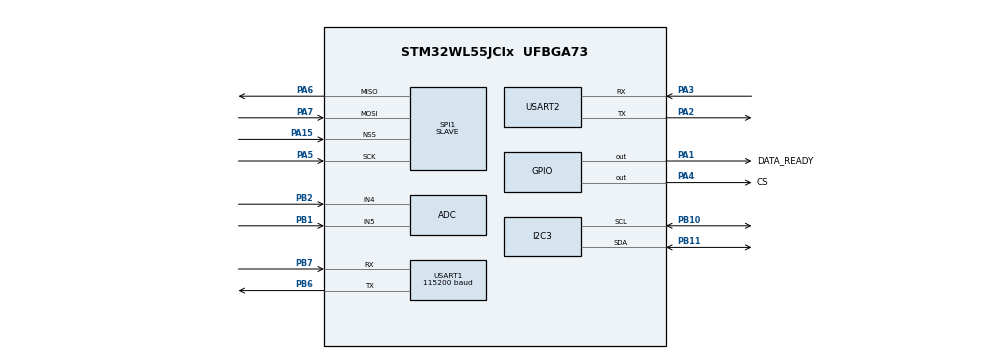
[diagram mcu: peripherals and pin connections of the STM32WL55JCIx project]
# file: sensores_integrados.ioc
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ADC.Channel-0\#ChannelRegularConversion=ADC_CHANNEL_4
ADC.EnableRegularConversion=ENABLE
ADC.NbrOfConversion=1
ADC.NbrOfConversionFlag=1
ADC.Rank-0\#ChannelRegularConversion=1
ADC.SamplingTime-0\#ChannelRegularConversion=ADC_SAMPLINGTIME_COMMON_1
ADC.SamplingTimeCommon1=ADC_SAMPLETIME_160CYCLES_5
ADC.SamplingTimeCommon2=ADC_SAMPLETIME_160CYCLES_5
ADC.SelectedChannel=ADC_CHANNEL_4|ADC_CHANNEL_5
I2C3.Timing=0x00B07CB4
Mcu.Family=STM32WL
Mcu.Name=STM32WL55JCIx
Mcu.Package=UFBGA73
NVIC.PriorityGroup=NVIC_PRIORITYGROUP_4
NVIC.SPI1_IRQn=true\:0\:0\:false\:false\:true\:true\:true\:true
NVIC.USART1_IRQn=true\:0\:0\:false\:false\:true\:true\:true\:true
NVIC.USART2_IRQn=true\:0\:0\:false\:false\:true\:true\:true\:true
PA1.GPIO_Label=DATA_READY
PA1.Signal=GPIO_Output
PA15.Mode=NSS_Signal_Hard_Input
PA15.Signal=SPI1_NSS
PA2.Mode=Asynchronous
PA2.Signal=USART2_TX
PA3.Mode=Asynchronous
PA3.Signal=USART2_RX
PA4.GPIO_Label=CS
PA4.Signal=GPIO_Output
PA5.Mode=Full_Duplex_Slave
PA5.Signal=SPI1_SCK
PA6.Mode=Full_Duplex_Slave
PA6.Signal=SPI1_MISO
PA7.Mode=Full_Duplex_Slave
PA7.Signal=SPI1_MOSI
PB1.Mode=IN5
PB1.Signal=ADC_IN5
PB10.GPIO_Pu=GPIO_NOPULL
PB10.Mode=I2C
PB10.Signal=I2C3_SCL
PB11.GPIO_Pu=GPIO_NOPULL
PB11.Mode=I2C
PB11.Signal=I2C3_SDA
PB2.Mode=IN4
PB2.Signal=ADC_IN4
PB6.Mode=Asynchronous
PB6.Signal=USART1_TX
PB7.GPIO_PuPd=GPIO_PULLUP
PB7.Mode=Asynchronous
PB7.Signal=USART1_RX
ProjectManager.HeapSize=0x200
ProjectManager.StackSize=0x400
ProjectManager.TargetToolchain=STM32CubeIDE
RCC.AHBFreq_Value=32000000
RCC.APB1Freq_Value=32000000
RCC.APB1TimFreq_Value=32000000
RCC.APB2Freq_Value=32000000
RCC.APB2TimFreq_Value=32000000
RCC.APB3Freq_Value=32000000
RCC.CortexFreq_Value=32000000
RCC.HCLKFreq_Value=32000000
RCC.HSE_VALUE=8000000
RCC.HSI_VALUE=16000000
RCC.LSE_VALUE=32768
RCC.MSIClockRange=RCC_MSIRANGE_10
RCC.SYSCLKFreq_VALUE=32000000
RCC.VCOOutputFreq_Value=256000000
SPI1.DataSize=SPI_DATASIZE_8BIT
SPI1.Direction=SPI_DIRECTION_2LINES
SPI1.Mode=SPI_MODE_SLAVE
SPI1.VirtualNSS=VM_NSSHARD
SPI1.VirtualType=VM_SLAVE
USART1.BaudRate=115200
USART1.VirtualMode-Asynchronous=VM_ASYNC
USART2.VirtualMode-Asynchronous=VM_ASYNC
board=custom

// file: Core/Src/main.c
/* USER CODE BEGIN Header */
/**
 ******************************************************************************
 * @file           : main.c
 * @brief          : Main program body
 ******************************************************************************
 *
 * --- Mapa TLV ---
 * 0x01  TIME        3B  hh mm ss
 * 0x02  GPS_COORD   8B  lat(4) lon(4) ×100000
 * 0x03  GPS_ALT     2B  metros (int16)
 * 0x04  GPS_SPEED   2B  km/h ×100 (uint16)
 * 0x05  ACCEL       6B  x y z (int16 cada uno)
 * 0x06  GYRO        6B  x y z (int16 cada uno)
 * 0x07  TEMP_SHT    2B  °C ×100 (int16)
 * 0x08  HUM_SHT     2B  % ×100 (uint16)
 * 0x09  PRESSURE    4B  mbar ×100 (uint32)
 * 0x0A  BARO_ALT    2B  metros ISA (int16)
 * 0x0B  BAT_VOLT    2B  mV (uint16)
 * 0x0C  BAT_SOC     1B  % (uint8)
 * 0x0D  MAG_ANGLE   2B  grados ×100 (uint16)
 *
 *//* <--- AQUI ESTA LA SOLUCION: Cierre del bloque */

/* USER CODE END Header */
#include "main.h"

/* USER CODE BEGIN Includes */
#include <string.h>
#include <stdio.h>
#include <stdlib.h>
#include <bmi270_config.h>
#include <stdbool.h>
#include "cmps2.h"
#include "ms5611.h"
/* USER CODE END Includes */

/* USER CODE BEGIN PTD */
//Direcciones BMI270
#define BMI270_I2C_ADDR     (0x68 << 1)
#define REG_CHIP_ID         0x00
#define REG_PWR_CONF        0x7C
#define REG_INIT_CTRL       0x59
#define REG_INIT_DATA       0x5E
#define REG_INTERNAL_STATUS 0x21
#define REG_PWR_CTRL        0x7D
#define REG_ACC_CONF        0x40
#define REG_ACC_RANGE       0x41
#define REG_DATA_8          0x0C
#define REG_TEMP_LSB        0x22

typedef struct {
	int16_t acc_x;
	int16_t acc_y;
	int16_t acc_z;
	int16_t gyr_x;
	int16_t gyr_y;
	int16_t gyr_z;
	float temp_BMI270;
} BMI270_Data_t;

//Direcciones SHT20
#define SHT20_I2C_ADDR   (0x40 << 1) // Dirección I2C desplazada 1 bit
#define CMD_MEASURE_T    0xF3        // Trigger T measurement (no hold master)
#define CMD_MEASURE_RH   0xF5        // Trigger RH measurement (no hold master)

#define VREF              3.3f
#define ADC_BITS          4096
#define R1                100000.0f
#define R2                220000.0f
#define NUM_MUESTRAS      10
#define INTERVALO_MS      500
#define LM35_MV_POR_C     10.0f
#define TEMP_ON           25.0f
#define TEMP_OFF          22.0f
#define ALPHA  0.1f   // factor del filtro: 0.1 = muy suave, 0.3 = más rápido
/* USER CODE END PTD */

/* USER CODE BEGIN PD */
// FIX: Los defines de LoRa se eliminaron de aquí.
// Ahora viven únicamente en subghz_phy_app.c para evitar redefinición.
/* USER CODE END PD */

ADC_HandleTypeDef hadc;

I2C_HandleTypeDef hi2c3;

SPI_HandleTypeDef hspi1;

UART_HandleTypeDef huart1;
UART_HandleTypeDef huart2;

/* USER CODE BEGIN PV */
uint8_t rx_data;
uint8_t rx_data_uart2; // Variable para capturar el input del menú
uint8_t spi_tx_buffer[128];
volatile uint32_t spi_tx_start_time = 0;

static float vbatFiltrado = 0.0f;

typedef struct {
	float voltaje;
	uint8_t porcentaje;
} PuntoSoC;

static const PuntoSoC tablaSoC[] =
		{ { 4.20f, 100 }, { 4.10f, 90 }, { 4.00f, 80 }, { 3.90f, 70 }, { 3.80f,
				60 }, { 3.70f, 45 }, { 3.60f, 30 }, { 3.50f, 20 },
				{ 3.40f, 10 }, { 3.20f, 5 }, { 3.00f, 0 }, };
static const uint8_t PUNTOS_SOC = sizeof(tablaSoC) / sizeof(tablaSoC[0]);

// --- ESTADOS DEL MENÚ ---
volatile uint8_t display_mode = 2; // 1 = ASCII, 2 = TLV (Default)
volatile uint8_t menu_active = 0;  // 0 = Mostrando datos, 1 = Mostrando menú

// --- BÚFER CIRCULAR GPS ---
#define RX_BUF_SIZE 512
volatile uint8_t rx_buffer[RX_BUF_SIZE];
volatile uint16_t rx_head = 0;
volatile uint16_t rx_tail = 0;

// --- PARSEO NMEA ---
char line_buffer[100];
uint8_t line_index = 0;

// --- BÚFER LORA TLV ---
uint8_t lora_tx_buffer[128];
uint8_t lora_tx_len = 0;

// FIX: radio_tx_done vive en subghz_phy_app.c, aquí solo la declaramos extern
extern volatile uint8_t radio_tx_done;
/* USER CODE END PV */

void SystemClock_Config(void);
static void MX_GPIO_Init(void);
static void MX_USART1_UART_Init(void);
static void MX_USART2_UART_Init(void);
static void MX_I2C3_Init(void);
static void MX_ADC_Init(void);
static void MX_SPI1_Init(void);
/* USER CODE BEGIN PFP */
void UART_Print(const char *msg);
uint32_t leerCanalADC(uint32_t canal);
float leerVoltajeBateria(void);
uint8_t voltajeASoC(float voltaje);
/* USER CODE END PFP */

/* USER CODE BEGIN 0 */

void BMI270_WriteReg(uint8_t reg, uint8_t val) {
	char dbg[70];
	snprintf(dbg, sizeof(dbg), "   [I2C] Escribiendo registro 0x%02X... ", reg);
	UART_Print(dbg);

	HAL_StatusTypeDef status = HAL_I2C_Mem_Write(&hi2c3, BMI270_I2C_ADDR, reg,
	I2C_MEMADD_SIZE_8BIT, &val, 1, 100);

	snprintf(dbg, sizeof(dbg), "Status HAL: %d\r\n", status);
	UART_Print(dbg);

	for (volatile int k = 0; k < 50000; k++)
		;
}

uint8_t BMI270_ReadReg(uint8_t reg) {
	uint8_t val = 0;
	HAL_I2C_Mem_Read(&hi2c3, BMI270_I2C_ADDR, reg, I2C_MEMADD_SIZE_8BIT, &val,
			1, 100);
	return val;
}

void BMI270_ReadRegs(uint8_t reg, uint8_t *data, uint16_t len) {
	HAL_I2C_Mem_Read(&hi2c3, BMI270_I2C_ADDR, reg, I2C_MEMADD_SIZE_8BIT, data,
			len, 100);
}

HAL_StatusTypeDef BMI270_LoadConfigFile(void) {
	UART_Print("   -> Configurando punteros 0x5B y 0x5C...\r\n");
	BMI270_WriteReg(0x5B, 0x00);
	BMI270_WriteReg(0x5C, 0x00);

	UART_Print("   -> Enviando 8KB de un solo golpe (Burst Write)...\r\n");

	HAL_StatusTypeDef status = HAL_I2C_Mem_Write(&hi2c3, BMI270_I2C_ADDR,
	REG_INIT_DATA, I2C_MEMADD_SIZE_8BIT, (uint8_t*) bmi270_config_file,
			bmi270_config_file_size, 1000);

	if (status != HAL_OK) {
		char err[60];
		snprintf(err, sizeof(err),
				"   [!] Error I2C en burst write. Codigo HAL: %d\r\n", status);
		UART_Print(err);
		return status;
	}

	UART_Print("   -> Transmision completada.\r\n");
	return HAL_OK;
}

void UART_Print(const char *msg) {
	HAL_UART_Transmit(&huart2, (uint8_t*) msg, strlen(msg), HAL_MAX_DELAY);
}

float BMI270_ReadTemperature(void) {
	uint8_t raw[2];
	BMI270_ReadRegs(REG_TEMP_LSB, raw, 2);
	int16_t raw_temp = (int16_t) ((raw[1] << 8) | raw[0]);
	return (raw_temp / 512.0f) + 23.0f;
}

void BMI270_Get_Data(BMI270_Data_t *imu_data) {
	uint8_t raw[14];

	BMI270_ReadRegs(REG_DATA_8, raw, 14);

	// Guardamos los datos dentro de la estructura usando la flecha (->)
	imu_data->acc_x = (int16_t) ((raw[1] << 8) | raw[0]);
	imu_data->acc_y = (int16_t) ((raw[3] << 8) | raw[2]);
	imu_data->acc_z = (int16_t) ((raw[5] << 8) | raw[4]);

	imu_data->gyr_x = (int16_t) ((raw[7] << 8) | raw[6]);
	imu_data->gyr_y = (int16_t) ((raw[9] << 8) | raw[8]);
	imu_data->gyr_z = (int16_t) ((raw[11] << 8) | raw[10]);

	imu_data->temp_BMI270 = BMI270_ReadTemperature();
}

void get_nmea_field(const char *nmea, uint8_t field_num, char *result) {
	uint8_t comma_count = 0;
	uint8_t i = 0, j = 0;
	while (nmea[i] != '\0' && nmea[i] != '*' && comma_count <= field_num) {
		if (nmea[i] == ',') {
			comma_count++;
		} else if (comma_count == field_num) {
			result[j++] = nmea[i];
		}
		i++;
	}
	result[j] = '\0';
}

void SHT20_Read(float *temperature, float *humidity) {
	uint8_t cmd;
	uint8_t data[3];
	uint16_t raw_val;
	// 1. Leer Temperatura
	cmd = CMD_MEASURE_T;
	HAL_I2C_Master_Transmit(&hi2c3, SHT20_I2C_ADDR, &cmd, 1, 150); // Enviamos el comando de medición de temperatura
	HAL_Delay(85); // Esperamos el tiempo máximo de conversión para 14 bits (85 ms)
	HAL_I2C_Master_Receive(&hi2c3, SHT20_I2C_ADDR, data, 3, 150); // Leemos 3 bytes: MSB, LSB y CRC
	// Unimos los bytes y ponemos a '0' los últimos 2 bits de estado (0xFC = 11111100 en binario)
	raw_val = (data[0] << 8) | (data[1] & 0xFC);
	*temperature = -46.85 + 175.72 * ((float) raw_val / 65536.0); // Aplicamos la fórmula del datasheet
	// 2. Leer Humedad Relativa
	cmd = CMD_MEASURE_RH;
	HAL_I2C_Master_Transmit(&hi2c3, SHT20_I2C_ADDR, &cmd, 1, 150); // Enviamos el comando de medición de humedad
	HAL_Delay(29); // Esperamos el tiempo máximo de conversión para 12 bits (29 ms)
	HAL_I2C_Master_Receive(&hi2c3, SHT20_I2C_ADDR, data, 3, 150); // Leemos 3 bytes: MSB, LSB y CRC
	raw_val = (data[0] << 8) | (data[1] & 0xFC); // Unimos los bytes y ponemos a '0' los últimos 2 bits de estado
	*humidity = -6.0 + 125.0 * ((float) raw_val / 65536.0);	// Aplicamos la fórmula del datasheet
}
uint32_t leerCanalADC(uint32_t canal) {
	ADC_ChannelConfTypeDef sConfig = { 0 };
	sConfig.Channel = canal;
	sConfig.Rank = ADC_REGULAR_RANK_1;
	sConfig.SamplingTime = ADC_SAMPLINGTIME_COMMON_1;
	HAL_ADC_ConfigChannel(&hadc, &sConfig);

	HAL_ADC_Start(&hadc);
	HAL_ADC_PollForConversion(&hadc, 100);
	uint32_t valor = HAL_ADC_GetValue(&hadc);
	HAL_ADC_Stop(&hadc);

	return valor;
}
float leerVoltajeBateria(void) {
	uint32_t suma = 0;
	for (uint8_t i = 0; i < NUM_MUESTRAS; i++) {
		suma += leerCanalADC(ADC_CHANNEL_5); /* PB1 = ADC_IN5 */
		HAL_Delay(5);
	}
	float rawProm = (float) suma / NUM_MUESTRAS;
	float vPin = (rawProm / ADC_BITS) * VREF;
	return vPin * (R1 + R2) / R2;
}
uint8_t voltajeASoC(float voltaje) {
	if (voltaje >= tablaSoC[0].voltaje)
		return 100;
	if (voltaje <= tablaSoC[PUNTOS_SOC - 1].voltaje)
		return 0;

	for (uint8_t i = 0; i < PUNTOS_SOC - 1; i++) {
		if (voltaje <= tablaSoC[i].voltaje
				&& voltaje >= tablaSoC[i + 1].voltaje) {
			float rango_v = tablaSoC[i].voltaje - tablaSoC[i + 1].voltaje;
			float rango_p = tablaSoC[i].porcentaje - tablaSoC[i + 1].porcentaje;
			float fraccion = (voltaje - tablaSoC[i + 1].voltaje) / rango_v;
			return (uint8_t) (tablaSoC[i + 1].porcentaje + fraccion * rango_p);
		}
	}
	return 0;
}

// Empaquetar 1 Byte (8 bits)
void tlv_pack_8(uint8_t type, uint8_t val) {
	lora_tx_buffer[lora_tx_len++] = type;
	lora_tx_buffer[lora_tx_len++] = 1; // Longitud: 1 byte
	lora_tx_buffer[lora_tx_len++] = val;
}

// Empaquetar 2 Bytes
void tlv_pack_16(uint8_t type, uint16_t val) {
	lora_tx_buffer[lora_tx_len++] = type;
	lora_tx_buffer[lora_tx_len++] = 2; // Longitud: 2 bytes
	lora_tx_buffer[lora_tx_len++] = (val >> 8) & 0xFF; // MSB
	lora_tx_buffer[lora_tx_len++] = val & 0xFF;        // LSB
}

// Empaquetar 4 Bytes
void tlv_pack_32(uint8_t type, uint32_t val) {
	lora_tx_buffer[lora_tx_len++] = type;
	lora_tx_buffer[lora_tx_len++] = 4; // Longitud: 4 bytes
	lora_tx_buffer[lora_tx_len++] = (val >> 24) & 0xFF;
	lora_tx_buffer[lora_tx_len++] = (val >> 16) & 0xFF;
	lora_tx_buffer[lora_tx_len++] = (val >> 8) & 0xFF;
	lora_tx_buffer[lora_tx_len++] = val & 0xFF;
}

void tlv_pack_time(uint8_t type, uint8_t h, uint8_t m, uint8_t s) {
	lora_tx_buffer[lora_tx_len++] = type;
	lora_tx_buffer[lora_tx_len++] = 3; // Longitud: 3 bytes
	lora_tx_buffer[lora_tx_len++] = h;
	lora_tx_buffer[lora_tx_len++] = m;
	lora_tx_buffer[lora_tx_len++] = s;
}

void tlv_pack_xyz(uint8_t type, int16_t x, int16_t y, int16_t z) {
	lora_tx_buffer[lora_tx_len++] = type;
	lora_tx_buffer[lora_tx_len++] = 6;
	lora_tx_buffer[lora_tx_len++] = (x >> 8) & 0xFF;
	lora_tx_buffer[lora_tx_len++] = x & 0xFF;
	lora_tx_buffer[lora_tx_len++] = (y >> 8) & 0xFF;
	lora_tx_buffer[lora_tx_len++] = y & 0xFF;
	lora_tx_buffer[lora_tx_len++] = (z >> 8) & 0xFF;
	lora_tx_buffer[lora_tx_len++] = z & 0xFF;
}

void tlv_pack_gps_coords(uint8_t type, int32_t lat, int32_t lon) {
	lora_tx_buffer[lora_tx_len++] = type;
	lora_tx_buffer[lora_tx_len++] = 8;
	lora_tx_buffer[lora_tx_len++] = (lat >> 24) & 0xFF;
	lora_tx_buffer[lora_tx_len++] = (lat >> 16) & 0xFF;
	lora_tx_buffer[lora_tx_len++] = (lat >> 8) & 0xFF;
	lora_tx_buffer[lora_tx_len++] = lat & 0xFF;
	lora_tx_buffer[lora_tx_len++] = (lon >> 24) & 0xFF;
	lora_tx_buffer[lora_tx_len++] = (lon >> 16) & 0xFF;
	lora_tx_buffer[lora_tx_len++] = (lon >> 8) & 0xFF;
	lora_tx_buffer[lora_tx_len++] = lon & 0xFF;
}

int32_t nmea_to_int32(char *coord_str, char dir) {
	if (strlen(coord_str) == 0)
		return 0;
	float raw = atof(coord_str);
	int degrees = (int) (raw / 100.0f);
	float minutes = raw - (degrees * 100.0f);
	float decimal_deg = degrees + (minutes / 60.0f);
	if (dir == 'S' || dir == 'W')
		decimal_deg *= -1.0f;
	return (int32_t) (decimal_deg * 100000.0f);
}
// Función maestra para armar el paquete LoRa
uint8_t build_telemetry_payload(uint8_t gps_has_fix, uint8_t h, uint8_t m,
		uint8_t s, int32_t lat, int32_t lon, int16_t alt, uint16_t speed,
		int16_t acc_x, int16_t acc_y, int16_t acc_z, int16_t gyr_x,
		int16_t gyr_y, int16_t gyr_z, int16_t temp_sht, uint16_t hum_sht,
		uint32_t pressure, uint16_t vbat_mv, uint8_t soc, uint16_t mag_angle) {
	lora_tx_len = 0; // Reiniciar el puntero del búfer global

	// 1. Datos GPS (Solo se agregan si hay satélites válidos)
	if (gps_has_fix) {
		tlv_pack_time(0x01, h, m, s);
		tlv_pack_gps_coords(0x02, lat, lon);
		tlv_pack_16(0x03, alt);
		tlv_pack_16(0x04, speed);
	}

	// 2. Datos IMU (Siempre se empaquetan)
	tlv_pack_xyz(0x05, acc_x, acc_y, acc_z);
	tlv_pack_xyz(0x06, gyr_x, gyr_y, gyr_z);
	//tlv_pack_16(0x0A, temp_imu); // Type 0x0A para Temperatura IMU

	// 3. Datos Atmosféricos (Siempre se empaquetan)
	tlv_pack_16(0x07, temp_sht);
	tlv_pack_16(0x08, hum_sht);
	tlv_pack_32(0x09, pressure);

	// 4. Batería y Magnetómetro (Nuevos datos)
	tlv_pack_16(0x0B, vbat_mv);     // Voltaje en mV
	tlv_pack_8(0x0C, soc);          // Porcentaje 0-100%
	tlv_pack_16(0x0D, mag_angle);   // Ángulo escalado x100

	return lora_tx_len; // Devuelve el tamaño final del paquete
}

/* USER CODE END 0 */

int main(void)
{

  /* MCU Configuration--------------------------------------------------------*/

  /* Reset of all peripherals, Initializes the Flash interface and the Systick. */
  HAL_Init();

  /* Configure the system clock */
  SystemClock_Config();

  /* Initialize all configured peripherals */
  MX_GPIO_Init();
  MX_USART1_UART_Init();
  MX_USART2_UART_Init();
  MX_I2C3_Init();
  MX_ADC_Init();
  MX_SPI1_Init();
  /* USER CODE BEGIN 2 */
	HAL_Delay(2000);
	UART_Print("Escaneando I2C3...\r\n");
	for (uint8_t addr = 1; addr < 128; addr++) {
		if (HAL_I2C_IsDeviceReady(&hi2c3, addr << 1, 1, 10) == HAL_OK) {
			char found[30];
			snprintf(found, sizeof(found), "  Dispositivo en 0x%02X\r\n", addr);
			UART_Print(found);
		}
	}
	UART_Print("Scan completo.\r\n");
	UART_Print("Inicializando sistema de telemetria...\r\n");
	CMPS2_Init(&hi2c3);
	MS5611_Init(&hi2c3, 0);
	float temperature_sht20, hum;
	float gps_speed_kmh = 0.0f;
	// Iniciar interrupciones de recepción para ambos UARTs
	HAL_UART_Receive_IT(&huart1, &rx_data, 1);
	HAL_UART_Receive_IT(&huart2, &rx_data_uart2, 1);

	uint8_t chip_id = BMI270_ReadReg(REG_CHIP_ID);

	if (chip_id != 0x24) {
		char err[60];
		snprintf(err, sizeof(err),
				"ERROR: BMI270 CHIP_ID=0x%02X (esperado 0x24)\r\n", chip_id);
		HAL_UART_Transmit(&huart2, (uint8_t*) err, strlen(err), HAL_MAX_DELAY);
	} else {
		BMI270_WriteReg(REG_PWR_CONF, 0x00);
		HAL_Delay(1);
		BMI270_WriteReg(REG_INIT_CTRL, 0x00);
		HAL_Delay(1);
		BMI270_LoadConfigFile();
		HAL_Delay(20);
		BMI270_WriteReg(REG_INIT_CTRL, 0x01);
		HAL_Delay(20);
		BMI270_WriteReg(REG_ACC_CONF, 0xA8);
		HAL_Delay(1);
		BMI270_WriteReg(REG_ACC_RANGE, 0x02);
		HAL_Delay(1);
		BMI270_WriteReg(REG_PWR_CTRL, 0x0E);
		HAL_Delay(1);
		BMI270_WriteReg(REG_PWR_CONF, 0x02);
		HAL_Delay(2);
		BMI270_WriteReg(0x42, 0xA9);
		HAL_Delay(1);
		BMI270_WriteReg(0x43, 0x00);
		HAL_Delay(1);
		UART_Print("BMI270 OK.\r\n");
	}

  /* USER CODE END 2 */

  /* Infinite loop */
  /* USER CODE BEGIN WHILE */
	uint32_t last_gps_time = HAL_GetTick();
	uint32_t last_imu_time = HAL_GetTick();
	BMI270_Data_t imu;
	while (1) {

		uint8_t trigger_telemetry = 0;
		uint8_t gps_valid = 0;

		if (rx_head != rx_tail) {
			char c = (char) rx_buffer[rx_tail];
			rx_tail = (rx_tail + 1) % RX_BUF_SIZE;

			if (c == '\n' || line_index >= sizeof(line_buffer) - 1) {
				line_buffer[line_index] = '\0';

				// 1. Interceptar VTG para guardar la

				if (strstr(line_buffer, "VTG") != NULL) {
					char speed_str[10] = { 0 };
					// El campo 7 contiene la velocidad en km/h
					get_nmea_field(line_buffer, 7, speed_str);
					if (strlen(speed_str) > 0) {
						gps_speed_kmh = atof(speed_str);
					}
				}
				// 2. Usar GGA como gatillo de telemetría
				else if (strstr(line_buffer, "GGA") != NULL) {
					last_gps_time = HAL_GetTick();
					trigger_telemetry = 1;
					gps_valid = 1;
				}
				line_index = 0;
			} else if (c != '\r') {
				line_buffer[line_index++] = c;
			}
		}

		// ==========================================
		// TAREA 2: WATCHDOG (telemetría sin GPS)
		// ==========================================
		if (HAL_GetTick() - last_gps_time > 2000) {
			if (HAL_GetTick() - last_imu_time > 1000) {
				last_imu_time = HAL_GetTick();
				trigger_telemetry = 1;
				gps_valid = 0;
			}
		} else {
			last_imu_time = HAL_GetTick();
		}

		// ==========================================
		// TAREA 4: TIMEOUT DEL SPI (Evitar bloqueos)
		// ==========================================
		// Si el pin está en ALTO, significa que la Raspi todavía no terminó de leer
		if (HAL_GPIO_ReadPin(DATA_READY_GPIO_Port, DATA_READY_Pin)
				== GPIO_PIN_SET) {

			// Si pasaron más de 500 ms desde que levantamos el pin...
			if (HAL_GetTick() - spi_tx_start_time > 500) {

				// 1. Abortamos la transmisión trabada a nivel de hardware
				HAL_SPI_Abort_IT(&hspi1);

				// 2. Bajamos el pin manualmente para resetear el estado
				HAL_GPIO_WritePin(DATA_READY_GPIO_Port, DATA_READY_Pin,
						GPIO_PIN_RESET);

				// 3. (Opcional) Notificamos el error en el menú 3 de debug
				if (!menu_active && display_mode == 3) {
					UART_Print(
							"\r\n[!] ERROR TIMEOUT SPI: La Raspberry Pi no respondio. Transmision abortada.\r\n");
				}
			}
		}
		// ==========================================
		// TAREA 3: ENSAMBLAR Y ENVIAR PAQUETE TLV
		// ==========================================
		if (trigger_telemetry == 1) {
			lora_tx_len = 0;

			// Variables NMEA subidas de scope para usarlas en el ASCII print
			char time_str[15] = { 0 }, lat_str[15] = { 0 }, ns[2] = { 0 };
			char lon_str[15] = { 0 }, ew[2] = { 0 }, alt_str[10] = { 0 },
					fix_str[2] = { 0 };
			uint8_t gps_has_fix = 0; // Nuestra bandera lógica
			uint8_t h = 0, m = 0, s = 0;
			uint16_t speed_scaled = 0;
			int32_t lat_int = 0, lon_int = 0;
			int16_t alt_int = 0;

			// 1. GPS (si tiene fix)
			if (gps_valid) {
				get_nmea_field(line_buffer, 1, time_str);
				get_nmea_field(line_buffer, 2, lat_str);
				get_nmea_field(line_buffer, 3, ns);
				get_nmea_field(line_buffer, 4, lon_str);
				get_nmea_field(line_buffer, 5, ew);
				get_nmea_field(line_buffer, 6, fix_str);
				get_nmea_field(line_buffer, 9, alt_str);

				if (fix_str[0] >= '1') {
					gps_has_fix = 1;

					int utc_h = (time_str[0] - '0') * 10 + (time_str[1] - '0');
					h = (utc_h - 3 < 0) ? utc_h - 3 + 24 : utc_h - 3;
					m = (time_str[2] - '0') * 10 + (time_str[3] - '0');
					s = (time_str[4] - '0') * 10 + (time_str[5] - '0');
					//tlv_pack_time(0x01, (uint8_t) art_h, m, s); //TLV HORA

					lat_int = nmea_to_int32(lat_str, ns[0]);
					lon_int = nmea_to_int32(lon_str, ew[0]);
					//tlv_pack_gps_coords(0x02, lat_int, lon_int); //TLV LATITUD Y LONGITUD

					alt_int = (int16_t) atof(alt_str);
					//tlv_pack_16(0x03, alt_int); //TLV ALTITUD
					speed_scaled = (uint16_t) (gps_speed_kmh * 100.0f);
					//tlv_pack_16(0x04, (uint16_t) (gps_speed_kmh * 100.0f));
				}
			}

			// 2. IMU (siempre)
			BMI270_Get_Data(&imu);

			//float temp = BMI270_ReadTemperature();

			//tlv_pack_xyz(0x05, acc_x, acc_y, acc_z); //TLV acelerometro X,Y,Z
			//tlv_pack_xyz(0x06, gyr_x, gyr_y, gyr_z); //TLV giroscopio X,Y,Z

			// Conversión a valores reales para el Print ASCII
			// (Basado en rango de +-8g configurado en REG_ACC_RANGE = 0x02 y giroscopio por defecto de +-2000dps)
			float ax_g = imu.acc_x / 4096.0f;
			float ay_g = imu.acc_y / 4096.0f;
			float az_g = imu.acc_z / 4096.0f;

			float gx_dps = imu.gyr_x / 16.4f;
			float gy_dps = imu.gyr_y / 16.4f;
			float gz_dps = imu.gyr_z / 16.4f;

			//SHT20 (SIEMPRE)
			SHT20_Read(&temperature_sht20, &hum);
			int16_t temp_sht_bits = (int16_t) (temperature_sht20 * 100.0f);
			//tlv_pack_16(0x07, temp_sht_bits); //TLV temperatura sth_21
			uint16_t hum_bits = (uint16_t) (hum * 100.0f);
			//tlv_pack_16(0x08, hum_bits); //TLV humedad

			//MS5611
			float temperature_ms5611 = 0.0f;
			float pressure_pa = 0.0f;
			float pressure_ms5611;
			uint32_t press_bits;

			MS5611_Measure(&hi2c3, &temperature_ms5611, &pressure_pa);
			pressure_ms5611 = pressure_pa / 100.0f;  // convertir a mbar
			press_bits = (uint32_t) (pressure_ms5611 * 100.0f); // si tu TLV espera centésimas de mbar

			float measured_angle = CMPS2_GetHeading();
			const char *direccion_viento = CMPS2_DecodeHeading(measured_angle);
			uint16_t mag_angle_scaled = (uint16_t) (measured_angle * 100.0f);

			//BATERIAS ADC
			float voltajeCrudo = leerVoltajeBateria();

			// Filtro exponencial: suaviza la lectura entre ciclos
			if (vbatFiltrado == 0.0f)
				vbatFiltrado = voltajeCrudo; // inicialización en el primer ciclo
			else
				vbatFiltrado = ALPHA * voltajeCrudo
						+ (1.0f - ALPHA) * vbatFiltrado;

			float voltaje = vbatFiltrado;
			uint8_t soc = voltajeASoC(voltaje);
			uint16_t vbat_mv = (uint16_t) (voltaje * 1000.0f);

			build_telemetry_payload(gps_has_fix, h, m, s, lat_int, lon_int,
					alt_int, speed_scaled, imu.acc_x, imu.acc_y, imu.acc_z,
					imu.gyr_x, imu.gyr_y, imu.gyr_z, temp_sht_bits, hum_bits,
					press_bits, vbat_mv, soc, mag_angle_scaled);
			// ==========================================
			// NUEVO: TRANSMISIÓN SPI HACIA LA RASPBERRY
			// ==========================================

			// 1. Abortamos cualquier transmisión SPI anterior que haya quedado colgada
			// (por si la Raspi se reinició y no leyó el paquete anterior)
			HAL_SPI_Abort_IT(&hspi1);

			// 2. Limpiamos el búfer y preparamos el nuevo paquete
			memset(spi_tx_buffer, 0, sizeof(spi_tx_buffer));
			spi_tx_buffer[0] = lora_tx_len; // Byte 0 = Longitud
			memcpy(&spi_tx_buffer[1], lora_tx_buffer, lora_tx_len); // Copiamos el TLV

			// 3. Cargamos el SPI por Interrupción (El STM32 queda listo esperando el Clock)
			// Mandamos siempre los 128 bytes fijos para mantener la sincronía.
			HAL_SPI_Transmit_IT(&hspi1, spi_tx_buffer, sizeof(spi_tx_buffer));

			// 4. Levantamos el pin DATA_READY para avisarle a la Raspi
			HAL_GPIO_WritePin(DATA_READY_GPIO_Port, DATA_READY_Pin,
					GPIO_PIN_SET);
			spi_tx_start_time = HAL_GetTick();

			// 3. Debug por UART
			if (!menu_active) {
				if (display_mode == 2) {
					// MODO TLV
					char debug_msg[200] = "TLV [";
					char hex_byte[5];
					for (int i = 0; i < lora_tx_len; i++) {
						snprintf(hex_byte, sizeof(hex_byte), "%02X ",
								lora_tx_buffer[i]);
						strcat(debug_msg, hex_byte);
					}
					char tail_buf[20];
					snprintf(tail_buf, sizeof(tail_buf), "] %d bytes\r\n",
							lora_tx_len);
					strcat(debug_msg, tail_buf);
					UART_Print(debug_msg);
				} else if (display_mode == 1) {
					// MODO ASCII NORMAL (Formateado según imagen)
					// Aumentamos el tamaño del buffer para evitar desbordamientos
					char ascii_msg[512];

					// 1. Verificamos si pasaron más de 2 segundos sin datos (Desconectado)
					if (HAL_GetTick() - last_gps_time > 2000) {
						snprintf(ascii_msg, sizeof(ascii_msg),
								"\r\n[GPS] Tx desconectado\r\n"
										"[PMOD] Angulo: %.2f | Direccion: %s"
										"[IMU] A: %+.2fg %+.2fg %+.2fg | G: %+.1fdps %+.1fdps %+.1fdps | T: %.1fC\r\n"
										"[SHT20] Temperatura: %.2f C | Humedad: %.2f %%\r\n"
										"[MS5611] Temperatura: %.2f C | Presion: %.2f\r\n"
										"VBAT: %.3f V | SOC: %u%%\r\n",
								measured_angle, direccion_viento, ax_g, ay_g,
								az_g, gx_dps, gy_dps, gz_dps, imu.temp_BMI270,
								temperature_sht20, hum, temperature_ms5611,
								pressure_ms5611, voltaje, soc);
					}
					// 2. Verificamos si hay conexión y tenemos fix satelital
					else if (gps_valid && fix_str[0] >= '1') {
						snprintf(ascii_msg, sizeof(ascii_msg),
								"\r\n[GPS] Lat: %s %s, Lon: %s %s, Alt: %s, Vel: %.2f km/h, Hora: %.2d:%.2d:%.2d\r\n"
										"[PMOD] Angulo: %.2f | Direccion: %s"
										"[IMU] A: %+.2fg %+.2fg %+.2fg | G: %+.1fdps %+.1fdps %+.1fdps | T: %.1fC\r\n"
										"[SHT20] Temperatura: %.2f C | Humedad: %.2f %%\r\n"
										"[MS5611] Temperatura: %.2f C | Presion: %.2f\r\n"
										"VBAT: %.3f V | SOC: %u%%\r\n", lat_str,
								ns, lon_str, ew, alt_str, gps_speed_kmh, h, m,
								s, measured_angle, direccion_viento, ax_g, ay_g,
								az_g, gx_dps, gy_dps, gz_dps, imu.temp_BMI270,
								temperature_sht20, hum, temperature_ms5611,
								pressure_ms5611, voltaje, soc);
					}
					// 3. Hay conexión pero aún no hay fix
					else {
						snprintf(ascii_msg, sizeof(ascii_msg),
								"\r\n[GPS] Buscando satelites...\r\n"
										"[PMOD] Angulo: %.2f | Direccion: %s"
										"[IMU] A: %+.2fg %+.2fg %+.2fg | G: %+.1fdps %+.1fdps %+.1fdps | T: %.1fC\r\n"
										"[SHT20] Temperatura: %.2f C | Humedad: %.2f %%\r\n"
										"[MS5611] Temperatura: %.2f C | Presion: %.2f\r\n"
										"VBAT: %.3f V | SOC: %u%%\r\n",
								measured_angle, direccion_viento, ax_g, ay_g,
								az_g, gx_dps, gy_dps, gz_dps, imu.temp_BMI270,
								temperature_sht20, hum, temperature_ms5611,
								pressure_ms5611, voltaje, soc);
					}
					UART_Print(ascii_msg);
				} else if (display_mode == 3) {
					// MODO 3: DEBUG SPI Y ERRORES
					char debug_msg[256];

					// Obtener el estado y los errores reales del periférico SPI
					HAL_SPI_StateTypeDef spi_state = HAL_SPI_GetState(&hspi1);
					uint32_t spi_error = HAL_SPI_GetError(&hspi1);

					// Leer el estado del pin que le avisa a la Raspberry
					GPIO_PinState pin_state = HAL_GPIO_ReadPin(
					DATA_READY_GPIO_Port, DATA_READY_Pin);

					snprintf(debug_msg, sizeof(debug_msg),
							"\r\n--- DEBUG SPI ---\r\n"
									"[*] SPI State: 0x%02X | Error Code: 0x%08lX\r\n"
									"[*] DATA_READY Pin: %d (1=Esperando Raspi, 0=Leido/Libre)\r\n"
									"[*] Payload SPI a enviar: %d bytes\r\n",
							spi_state, spi_error, pin_state, lora_tx_len + 1); // +1 por el byte de longitud
					UART_Print(debug_msg);

					// Imprimir los primeros 8 bytes del búfer SPI para verificar el empaquetado
					char hex_buf[100] = "[*] SPI TX Buffer [0..7]: ";
					char hex[5];
					for (int i = 0; i < 8 && i < sizeof(spi_tx_buffer); i++) {
						snprintf(hex, sizeof(hex), "%02X ", spi_tx_buffer[i]);
						strcat(hex_buf, hex);
					}
					strcat(hex_buf, "\r\n");
					UART_Print(hex_buf);

					// Alerta de posible bloqueo
					if (pin_state == GPIO_PIN_SET
							&& spi_state == HAL_SPI_STATE_BUSY_TX) {
						UART_Print(
								"[!] ADVERTENCIA: La Raspberry no ha generado el Clock de lectura.\r\n");
					}
				}
			}
		}
    /* USER CODE END WHILE */

	}
}

void SystemClock_Config(void)
{
  RCC_OscInitTypeDef RCC_OscInitStruct = {0};
  RCC_ClkInitTypeDef RCC_ClkInitStruct = {0};

  /** Configure the main internal regulator output voltage
  */
  __HAL_PWR_VOLTAGESCALING_CONFIG(PWR_REGULATOR_VOLTAGE_SCALE1);

  /** Initializes the CPU, AHB and APB buses clocks
  */
  RCC_OscInitStruct.OscillatorType = RCC_OSCILLATORTYPE_MSI;
  RCC_OscInitStruct.MSIState = RCC_MSI_ON;
  RCC_OscInitStruct.MSICalibrationValue = RCC_MSICALIBRATION_DEFAULT;
  RCC_OscInitStruct.MSIClockRange = RCC_MSIRANGE_10;
  RCC_OscInitStruct.PLL.PLLState = RCC_PLL_NONE;
  if (HAL_RCC_OscConfig(&RCC_OscInitStruct) != HAL_OK)
  {
    Error_Handler();
  }

  /** Configure the SYSCLKSource, HCLK, PCLK1 and PCLK2 clocks dividers
  */
  RCC_ClkInitStruct.ClockType = RCC_CLOCKTYPE_HCLK3|RCC_CLOCKTYPE_HCLK
                              |RCC_CLOCKTYPE_SYSCLK|RCC_CLOCKTYPE_PCLK1
                              |RCC_CLOCKTYPE_PCLK2;
  RCC_ClkInitStruct.SYSCLKSource = RCC_SYSCLKSOURCE_MSI;
  RCC_ClkInitStruct.AHBCLKDivider = RCC_SYSCLK_DIV1;
  RCC_ClkInitStruct.APB1CLKDivider = RCC_HCLK_DIV1;
  RCC_ClkInitStruct.APB2CLKDivider = RCC_HCLK_DIV1;
  RCC_ClkInitStruct.AHBCLK3Divider = RCC_SYSCLK_DIV1;

  if (HAL_RCC_ClockConfig(&RCC_ClkInitStruct, FLASH_LATENCY_1) != HAL_OK)
  {
    Error_Handler();
  }
}

static void MX_ADC_Init(void)
{

  ADC_ChannelConfTypeDef sConfig = {0};

  /** Configure the global features of the ADC (Clock, Resolution, Data Alignment and number of conversion)
  */
  hadc.Instance = ADC;
  hadc.Init.ClockPrescaler = ADC_CLOCK_SYNC_PCLK_DIV1;
  hadc.Init.Resolution = ADC_RESOLUTION_12B;
  hadc.Init.DataAlign = ADC_DATAALIGN_RIGHT;
  hadc.Init.ScanConvMode = ADC_SCAN_DISABLE;
  hadc.Init.EOCSelection = ADC_EOC_SINGLE_CONV;
  hadc.Init.LowPowerAutoWait = DISABLE;
  hadc.Init.LowPowerAutoPowerOff = DISABLE;
  hadc.Init.ContinuousConvMode = DISABLE;
  hadc.Init.NbrOfConversion = 1;
  hadc.Init.DiscontinuousConvMode = DISABLE;
  hadc.Init.ExternalTrigConv = ADC_SOFTWARE_START;
  hadc.Init.ExternalTrigConvEdge = ADC_EXTERNALTRIGCONVEDGE_NONE;
  hadc.Init.DMAContinuousRequests = DISABLE;
  hadc.Init.Overrun = ADC_OVR_DATA_PRESERVED;
  hadc.Init.SamplingTimeCommon1 = ADC_SAMPLETIME_160CYCLES_5;
  hadc.Init.SamplingTimeCommon2 = ADC_SAMPLETIME_160CYCLES_5;
  hadc.Init.OversamplingMode = DISABLE;
  hadc.Init.TriggerFrequencyMode = ADC_TRIGGER_FREQ_HIGH;
  if (HAL_ADC_Init(&hadc) != HAL_OK)
  {
    Error_Handler();
  }

  /** Configure Regular Channel
  */
  sConfig.Channel = ADC_CHANNEL_4;
  sConfig.Rank = ADC_REGULAR_RANK_1;
  sConfig.SamplingTime = ADC_SAMPLINGTIME_COMMON_1;
  if (HAL_ADC_ConfigChannel(&hadc, &sConfig) != HAL_OK)
  {
    Error_Handler();
  }

}

static void MX_I2C3_Init(void)
{

  hi2c3.Instance = I2C3;
  hi2c3.Init.Timing = 0x00B07CB4;
  hi2c3.Init.OwnAddress1 = 0;
  hi2c3.Init.AddressingMode = I2C_ADDRESSINGMODE_7BIT;
  hi2c3.Init.DualAddressMode = I2C_DUALADDRESS_DISABLE;
  hi2c3.Init.OwnAddress2 = 0;
  hi2c3.Init.OwnAddress2Masks = I2C_OA2_NOMASK;
  hi2c3.Init.GeneralCallMode = I2C_GENERALCALL_DISABLE;
  hi2c3.Init.NoStretchMode = I2C_NOSTRETCH_DISABLE;
  if (HAL_I2C_Init(&hi2c3) != HAL_OK)
  {
    Error_Handler();
  }

  /** Configure Analogue filter
  */
  if (HAL_I2CEx_ConfigAnalogFilter(&hi2c3, I2C_ANALOGFILTER_ENABLE) != HAL_OK)
  {
    Error_Handler();
  }

  /** Configure Digital filter
  */
  if (HAL_I2CEx_ConfigDigitalFilter(&hi2c3, 0) != HAL_OK)
  {
    Error_Handler();
  }

}

static void MX_SPI1_Init(void)
{

  /* SPI1 parameter configuration*/
  hspi1.Instance = SPI1;
  hspi1.Init.Mode = SPI_MODE_SLAVE;
  hspi1.Init.Direction = SPI_DIRECTION_2LINES;
  hspi1.Init.DataSize = SPI_DATASIZE_8BIT;
  hspi1.Init.CLKPolarity = SPI_POLARITY_LOW;
  hspi1.Init.CLKPhase = SPI_PHASE_1EDGE;
  hspi1.Init.NSS = SPI_NSS_HARD_INPUT;
  hspi1.Init.FirstBit = SPI_FIRSTBIT_MSB;
  hspi1.Init.TIMode = SPI_TIMODE_DISABLE;
  hspi1.Init.CRCCalculation = SPI_CRCCALCULATION_DISABLE;
  hspi1.Init.CRCPolynomial = 7;
  hspi1.Init.CRCLength = SPI_CRC_LENGTH_DATASIZE;
  hspi1.Init.NSSPMode = SPI_NSS_PULSE_DISABLE;
  if (HAL_SPI_Init(&hspi1) != HAL_OK)
  {
    Error_Handler();
  }

}

static void MX_USART1_UART_Init(void)
{

  huart1.Instance = USART1;
  huart1.Init.BaudRate = 115200;
  huart1.Init.WordLength = UART_WORDLENGTH_8B;
  huart1.Init.StopBits = UART_STOPBITS_1;
  huart1.Init.Parity = UART_PARITY_NONE;
  huart1.Init.Mode = UART_MODE_TX_RX;
  huart1.Init.HwFlowCtl = UART_HWCONTROL_NONE;
  huart1.Init.OverSampling = UART_OVERSAMPLING_16;
  huart1.Init.OneBitSampling = UART_ONE_BIT_SAMPLE_DISABLE;
  huart1.Init.ClockPrescaler = UART_PRESCALER_DIV1;
  huart1.AdvancedInit.AdvFeatureInit = UART_ADVFEATURE_NO_INIT;
  if (HAL_UART_Init(&huart1) != HAL_OK)
  {
    Error_Handler();
  }
  if (HAL_UARTEx_SetTxFifoThreshold(&huart1, UART_TXFIFO_THRESHOLD_1_8) != HAL_OK)
  {
    Error_Handler();
  }
  if (HAL_UARTEx_SetRxFifoThreshold(&huart1, UART_RXFIFO_THRESHOLD_1_8) != HAL_OK)
  {
    Error_Handler();
  }
  if (HAL_UARTEx_DisableFifoMode(&huart1) != HAL_OK)
  {
    Error_Handler();
  }

}

static void MX_USART2_UART_Init(void)
{

  huart2.Instance = USART2;
  huart2.Init.BaudRate = 115200;
  huart2.Init.WordLength = UART_WORDLENGTH_8B;
  huart2.Init.StopBits = UART_STOPBITS_1;
  huart2.Init.Parity = UART_PARITY_NONE;
  huart2.Init.Mode = UART_MODE_TX_RX;
  huart2.Init.HwFlowCtl = UART_HWCONTROL_NONE;
  huart2.Init.OverSampling = UART_OVERSAMPLING_16;
  huart2.Init.OneBitSampling = UART_ONE_BIT_SAMPLE_DISABLE;
  huart2.Init.ClockPrescaler = UART_PRESCALER_DIV1;
  huart2.AdvancedInit.AdvFeatureInit = UART_ADVFEATURE_NO_INIT;
  if (HAL_UART_Init(&huart2) != HAL_OK)
  {
    Error_Handler();
  }
  if (HAL_UARTEx_SetTxFifoThreshold(&huart2, UART_TXFIFO_THRESHOLD_1_8) != HAL_OK)
  {
    Error_Handler();
  }
  if (HAL_UARTEx_SetRxFifoThreshold(&huart2, UART_RXFIFO_THRESHOLD_1_8) != HAL_OK)
  {
    Error_Handler();
  }
  if (HAL_UARTEx_DisableFifoMode(&huart2) != HAL_OK)
  {
    Error_Handler();
  }

}

static void MX_GPIO_Init(void)
{
  GPIO_InitTypeDef GPIO_InitStruct = {0};

  /* GPIO Ports Clock Enable */
  __HAL_RCC_GPIOA_CLK_ENABLE();
  __HAL_RCC_GPIOB_CLK_ENABLE();

  /*Configure GPIO pin Output Level */
  HAL_GPIO_WritePin(GPIOA, DATA_READY_Pin|CS_Pin, GPIO_PIN_RESET);

  /*Configure GPIO pins : DATA_READY_Pin CS_Pin */
  GPIO_InitStruct.Pin = DATA_READY_Pin|CS_Pin;
  GPIO_InitStruct.Mode = GPIO_MODE_OUTPUT_PP;
  GPIO_InitStruct.Pull = GPIO_NOPULL;
  GPIO_InitStruct.Speed = GPIO_SPEED_FREQ_LOW;
  HAL_GPIO_Init(GPIOA, &GPIO_InitStruct);

}

/* USER CODE BEGIN 4 */

void HAL_UART_RxCpltCallback(UART_HandleTypeDef *huart) {
// GPS UART
	if (huart->Instance == USART1) {
		rx_buffer[rx_head] = rx_data;
		rx_head = (rx_head + 1) % RX_BUF_SIZE;
		HAL_UART_Receive_IT(&huart1, &rx_data, 1);
	}
// INTERFAZ DE USUARIO UART (DEBUG)
	else if (huart->Instance == USART2) {
		if (rx_data_uart2 == '0' && !menu_active) {
			// Abrir menú
			menu_active = 1;
			UART_Print("\r\n========================\r\n");
			UART_Print("     MENU DE AJUSTES    \r\n");
			UART_Print("========================\r\n");
			UART_Print("1. Modo ASCII (gps\\r\\nIMU)\r\n");
			UART_Print("2. Modo TLV (Hexadecimal)\r\n");
			UART_Print("3. Modo Debug SPI/Errores\r\n"); // <-- NUEVA OPCIÓN
			UART_Print("Seleccione una opcion: ");
		} else if (menu_active) {
			// Procesar selección del menú
			if (rx_data_uart2 == '1') {
				display_mode = 1;
				menu_active = 0;
				UART_Print("1\r\n[+] Modo ASCII activado.\r\n");
			} else if (rx_data_uart2 == '2') {
				display_mode = 2;
				menu_active = 0;
				UART_Print("2\r\n[+] Modo TLV activado.\r\n");
			} else if (rx_data_uart2 == '3') {
				display_mode = 3;
				menu_active = 0;
				UART_Print("3\r\n[+] Modo Debug SPI/Errores activado.\r\n"); // <-- NUEVA ACCIÓN
			} else {
				UART_Print("\r\n[!] Opcion no valida. Seleccione 1, 2 o 3: ");
			}
		}
		// Rehabilitar interrupción de recepción
		HAL_UART_Receive_IT(&huart2, &rx_data_uart2, 1);
	}
}

void HAL_UART_ErrorCallback(UART_HandleTypeDef *huart) {
	if (huart->Instance == USART1) {
		__HAL_UART_CLEAR_OREFLAG(huart);
		HAL_UART_Receive_IT(&huart1, &rx_data, 1);
	} else if (huart->Instance == USART2) {
		__HAL_UART_CLEAR_OREFLAG(huart);
		HAL_UART_Receive_IT(&huart2, &rx_data_uart2, 1);
	}
}
void HAL_SPI_TxCpltCallback(SPI_HandleTypeDef *hspi) {
	if (hspi->Instance == SPI1) { // Cambia SPI1 por el que uses
		// La Raspi terminó de leer. Bajamos la bandera.
		HAL_GPIO_WritePin(DATA_READY_GPIO_Port, DATA_READY_Pin, GPIO_PIN_RESET);
	}
}

/* USER CODE END 4 */

void Error_Handler(void)
{
	__disable_irq();
	while (1) {
	}
}
